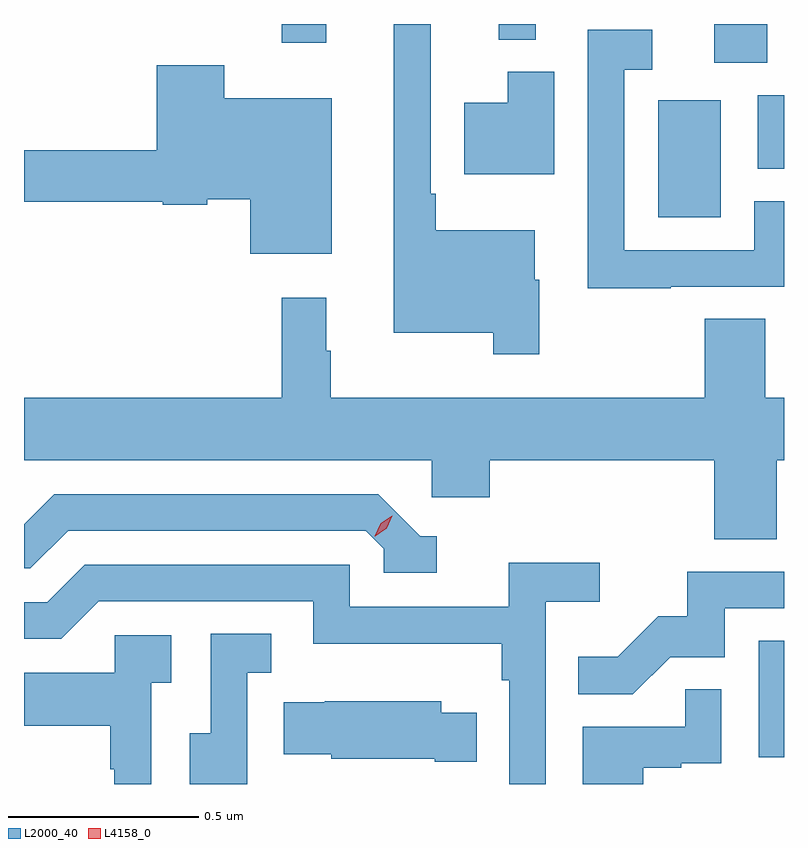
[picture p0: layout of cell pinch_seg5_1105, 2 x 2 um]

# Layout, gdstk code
import gdstk
lib = gdstk.Library(unit=1e-6, precision=1e-09)
def R(c, l, rs):  # rectangles x0, y0, x1, y1
    for r in rs: c.add(gdstk.rectangle(r[:2], r[2:], *l))
def P(c, l, *ps):  # polygons
    for p in ps: c.add(gdstk.Polygon(p, *l))
L2000_40 = (2000, 40)
L4158_0 = (4158, 0)

pinch_seg5_1105 = lib.new_cell('pinch_seg5_1105')
R(pinch_seg5_1105, L2000_40, [(862.664,873.294,862.731,873.601), (862.4,874.716,862.564,875.023), (862.662,874.843,862.731,875.037), (862.547,875.122,862.687,875.224), (861.409,875.175,861.527,875.224), (861.98,875.183,862.078,875.224)])
P(pinch_seg5_1105, L2000_40, [(862.087,874.551),(862.075,874.551),(862.075,874.681),(861.814,874.681),(861.814,874.777),(861.801,874.777),(861.801,875.224),(861.704,875.224),(861.704,874.412),(861.966,874.412),(861.966,874.355),(862.087,874.355)],
  [(862.433,874.533),(862.731,874.533),(862.731,874.758),(862.653,874.758),(862.653,874.629),(862.311,874.629),(862.311,875.103),(862.384,875.103),(862.384,875.209),(862.215,875.209),(862.215,874.528),(862.433,874.528)],
  [(861.541,875.029),(861.258,875.029),(861.258,875.116),(861.08,875.116),(861.08,874.892),(860.731,874.892),(860.731,874.756),(861.096,874.756),(861.096,874.748),(861.213,874.748),(861.213,874.763),(861.326,874.763),(861.326,874.619),(861.541,874.619)],
  [(862.126,875.098),(862.004,875.098),(862.004,875.017),(861.89,875.017),(861.89,874.829),(862.126,874.829)],
  [(862.712,874.076),(862.731,874.076),(862.731,874.24),(862.682,874.24),(862.682,874.448),(862.522,874.448),(862.522,874.24),(861.538,874.24),(861.538,874.364),(861.526,874.364),(861.526,874.504),(861.409,874.504),(861.409,874.24),(860.731,874.24),(860.731,874.076),(861.804,874.076),(861.804,873.978),(861.956,873.978),(861.956,874.076),(862.547,874.076),(862.547,873.868),(862.712,873.868)],
  [(861.817,873.876),(861.774,873.876),(861.663,873.987),(860.81,873.987),(860.731,873.908),(860.731,873.792),(860.748,873.792),(860.847,873.891),(861.63,873.891),(861.678,873.843),(861.678,873.78),(861.817,873.78)],
  [(862.104,873.704),(862.246,873.704),(862.246,873.806),(862.007,873.806),(862.007,873.69),(861.588,873.69),(861.588,873.801),(860.891,873.801),(860.792,873.702),(860.731,873.702),(860.731,873.606),(860.829,873.606),(860.928,873.705),(861.492,873.705),(861.492,873.593),(861.988,873.593),(861.988,873.497),(862.008,873.497),(862.008,873.224),(862.104,873.224)],
  [(862.431,873.558),(862.575,873.558),(862.575,873.687),(862.731,873.687),(862.731,873.783),(862.477,873.783),(862.477,873.666),(862.4,873.666),(862.293,873.559),(862.189,873.559),(862.189,873.46),(862.333,873.46)],
  [(861.318,873.517),(861.382,873.517),(861.382,873.62),(861.222,873.62),(861.222,873.357),(861.167,873.357),(861.167,873.224),(861.318,873.224)],
  [(861.066,873.491),(861.118,873.491),(861.118,873.615),(860.97,873.615),(860.97,873.517),(860.731,873.517),(860.731,873.377),(860.958,873.377),(860.958,873.263),(860.968,873.263),(860.968,873.224),(861.066,873.224)],
  [(862.36,873.267),(862.46,873.267),(862.46,873.279),(862.566,873.279),(862.566,873.473),(862.471,873.473),(862.471,873.375),(862.202,873.375),(862.202,873.224),(862.36,873.224)],
  [(861.923,873.412),(861.829,873.412),(861.829,873.442),(861.523,873.442),(861.523,873.439),(861.415,873.439),(861.415,873.302),(861.54,873.302),(861.54,873.29),(861.812,873.29),(861.812,873.283),(861.923,873.283)])
P(pinch_seg5_1105, L4158_0, [(861.654,873.876),(861.654,873.876),(861.67,873.91),(861.7,873.93),(861.7,873.93),(861.7,873.93),(861.685,873.897),(861.655,873.876)])

lib.write_gds('pinch_seg5_1105.gds')
